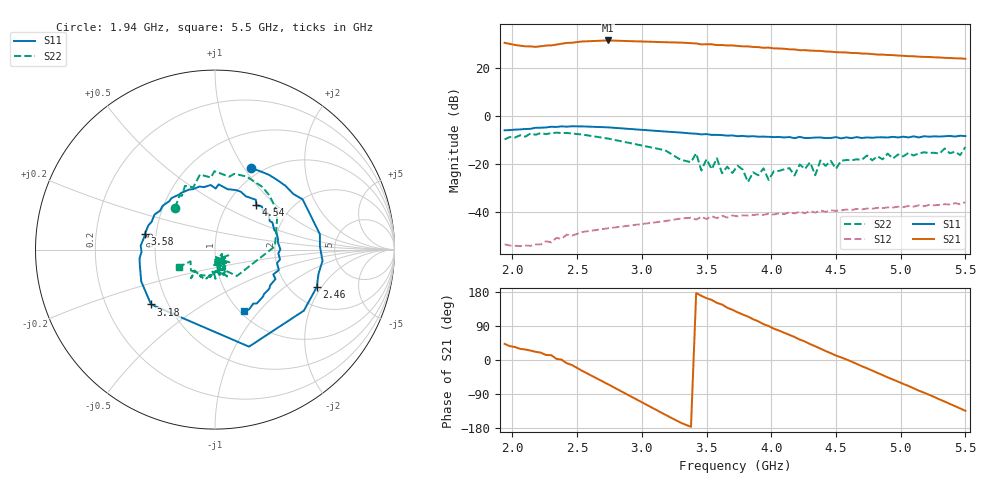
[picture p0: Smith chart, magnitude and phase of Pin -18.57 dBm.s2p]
! RsaToolbox (C) 2015 Rohde & Schwarz America
! Number of points: 72
! Number of ports: 2
! Balanced ports?: No
# Hz S RI R 50
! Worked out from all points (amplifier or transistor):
!   72 points, 1.94 GHz to 5.5 GHz, reference 50 ohm
!   highest |S21| = 31.4 dB at 2.74 GHz (marker M1)
!   |S21| within 3 dB of that: start of sweep to 3.932 GHz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
!   unconditionally stable (mu >= 1): start of sweep to end of sweep
!   at 2.42 GHz: K = 2.69, MAG = 32.8 dB, |S12| = -49.5 dB
!   at 4.1 GHz: K = 2.07, MAG = 28.6 dB, |S12| = -41.0 dB
!   at 5.5 GHz: K = 1.73, MAG = 24.9 dB, |S12| = -36.0 dB
!   S11 on the Smith chart (normalised r, x): 1.94 GHz: 0.89, +1.08; 2.46 GHz: 2.75, -1.81; 3.18 GHz: 0.40, -0.32; 3.58 GHz: 0.43, +0.09; 4.54 GHz: 1.35, +0.76; 5.5 GHz: 1.05, -0.83
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1.94e9  0.2027 0.4548  24.47 22.44  -0.0002 -0.00208  -0.2218 0.2331
2.06e9  0.3426 0.3904  25.13 14.13  -0.000556 -0.00183  -0.167 0.3551
2.18e9  0.4883 0.2797  25.37 10  -0.000524 -0.00203  -0.0219 0.4016
2.3e9  0.5843 0.0859  28.61 6.547  -0.000589 -0.00222  0.1077 0.4221
2.34e9  0.5848 0.0157  30.3 1.621  -0.00107 -0.00264  0.1767 0.4071
2.46e9  0.5671 -0.2084  32.4 -7.642  -0.00143 -0.00283  0.3042 0.2999
2.54e9  0.4951 -0.3402  31.02 -16.99  -0.00227 -0.00303  0.3487 0.2079
2.74e9  0.1894 -0.5408  16.14 -33.42  -0.00419 -0.00171  0.3339 0.0182
3.18e9  -0.3564 -0.3054  -27.65 -19.98  -0.00504 0.00391  0.1221 -0.1469
3.3e9  -0.411 -0.1774  -32.42 -8.433  -0.00487 0.00532  0.0469 -0.1116
3.38e9  -0.4189 -0.0855  -32.5 -2.023  -0.00388 0.00642  0.0215 -0.1059
3.54e9  -0.393 0.0732  -28.77 11.32  -0.00158 0.00793  0.0122 -0.0759
3.58e9  -0.3909 0.0868  -25.87 14.51  -0.000849 0.00729  0.0186 -0.1291
3.74e9  -0.3054 0.2174  -16.72 23.12  0.00161 0.00787  0.00224 -0.0908
3.98e9  -0.1423 0.3352  0.1338 26.31  0.00573 0.00708  0.0395 -0.0234
4.18e9  0.00352 0.3405  11.84 21.08  0.00822 0.00412  -0.000412 -0.0571
4.34e9  0.1197 0.331  18.23 13.31  0.00947 0.00151  0.0236 -0.0526
4.54e9  0.2302 0.2475  20.81 2.512  0.0104 -0.00275  0.0215 -0.1132
4.74e9  0.32 0.151  18.26 -7.325  0.00959 -0.00667  0.0501 -0.14
4.94e9  0.3641 0.0016  11.42 -14.37  0.00592 -0.0107  -0.00661 -0.128
5.22e9  0.3079 -0.1982  -0.5607 -16.78  -0.00114 -0.0139  -0.0835 -0.1456
5.5e9  0.1633 -0.3404  -10.69 -11.05  -0.00911 -0.0129  -0.2013 -0.0958
